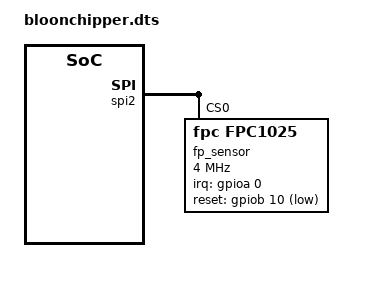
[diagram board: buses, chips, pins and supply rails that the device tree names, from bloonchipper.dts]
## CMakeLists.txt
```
# Copyright 2023 The ChromiumOS Authors
# Use of this source code is governed by a BSD-style license that can be
# found in the LICENSE file.

zephyr_library_sources("../common.c")
zephyr_library_sources("src/power.c")

zephyr_library_sources_ifdef(CONFIG_BLOONCHIPPER_EC_RO_QUIRKS "src/ec_quirks.c")
zephyr_library_sources_ifdef(CONFIG_EC_HOST_CMD "src/fp_transport.c")
```

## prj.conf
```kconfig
# Copyright 2023 The ChromiumOS Authors
# Use of this source code is governed by a BSD-style license that can be
# found in the LICENSE file.

CONFIG_BOARD_BLOONCHIPPER=y

# The NULL pointer exception page size must be a power of two
# and have size greater or equal ARM_MPU_REGION_MIN_ALIGN_AND_SIZE
CONFIG_CORTEX_M_NULL_POINTER_EXCEPTION_PAGE_SIZE=0x80

# Peripherials
CONFIG_COUNTER=y
CONFIG_DMA=y

# Hwinfo (used by cros-system driver for STM32)
CONFIG_HWINFO=y

# STM32 flash driver options
CONFIG_FLASH_STM32_READOUT_PROTECTION=y
CONFIG_FLASH_STM32_WRITE_PROTECT=y
CONFIG_FLASH_STM32_BLOCK_REGISTERS=y

# STM32 entropy driver options
CONFIG_ENTROPY_STM32_THR_POOL_SIZE=32
CONFIG_ENTROPY_STM32_THR_THRESHOLD=16

# IWDG watchdog
CONFIG_IWDG_STM32_INITIAL_TIMEOUT=10000
CONFIG_PLATFORM_EC_WATCHDOG_PERIOD_MS=10000
CONFIG_PLATFORM_EC_WATCHDOG_WARNING_LEADING_TIME_MS=3000
CONFIG_PLATFORM_EC_WATCHDOG_HELPER=y

# Set HOOK_TICK INTERVAL in microseconds to reload watchdog
CONFIG_CROS_EC_HOOK_TICK_INTERVAL=500000

# CrOS drivers
CONFIG_CROS_FLASH_READOUT_PROTECTION=y
CONFIG_CROS_SYSTEM_STM32=y

# Priorities
CONFIG_PLATFORM_EC_FLASH_INIT_PRIORITY=60
CONFIG_CROS_SYSTEM_STM32_INIT_PRIORITY=71
CONFIG_PLATFORM_EC_SYSTEM_PRE_INIT_PRIORITY=72

# Host Commands
CONFIG_EC_HOST_CMD_INITIALIZE_AT_BOOT=n
CONFIG_EC_HOST_CMD_HANDLER_TX_BUFFER_SIZE=549
CONFIG_EC_HOST_CMD_HANDLER_RX_BUFFER_SIZE=544
CONFIG_EC_HOST_CMD_BACKEND_SPI=y
CONFIG_EC_HOST_CMD_BACKEND_UART=y
CONFIG_EC_HOST_CMD_BACKEND_UART_TIMEOUT=30
CONFIG_UART_ASYNC_API=y

# Increase IDLE stack for the IDLE timer
CONFIG_IDLE_STACK_SIZE=550

# Enable DMA for SPI, which is used for communication with a sensor
CONFIG_SPI_STM32_DMA=y

# Software SHA256 for rollback and RW signature verification
CONFIG_PLATFORM_EC_SHA256_SW=y
CONFIG_PLATFORM_EC_SHA256_UNROLLED=y
```

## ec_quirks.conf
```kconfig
# Copyright 2023 The ChromiumOS Authors
# Use of this source code is governed by a BSD-style license that can be
# found in the LICENSE file.

CONFIG_BLOONCHIPPER_EC_RO_QUIRKS=y
CONFIG_CROS_FLASH_STM32_PROTECTION_COMPAT=y
```

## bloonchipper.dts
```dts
/* Copyright 2023 The ChromiumOS Authors.
 * Use of this source code is governed by a BSD-style license that can be
 * found in the LICENSE file.
 */

#include "soc.dtsi"
#include "gpio.dtsi"
#include "rwsig.dtsi"

#include <cros/integrated_fwid.dtsi>

#define FPC1025_RAW_IMAGE_PROPS \
	width = <160>; \
	height = <160>; \
	bits-per-pixel = <8>; \
	/*
	 * Sensor raw image size
	 *
	 * Value from fpc_bep_image_get_buffer_size(): (160*160)+660
	 */ \
	frame-size = <26260>; \
	v4l2-pixel-format = "V4L2_PIX_FMT_GREY";

#define FPC1025_REAL_IMAGE_PROPS \
	width = <160>; \
	height = <160>; \
	bits-per-pixel = <8>; \
	/* Sensor real image size: (160*160) */ \
	frame-size = <25600>; \
	v4l2-pixel-format = "V4L2_PIX_FMT_GREY";

/ {
	chosen {
		cros-fp,fingerprint-sensor = &fp_sensor;
		zephyr,host-cmd-spi-backend = &spi1;
		zephyr,host-cmd-uart-backend = &usart1;
	};

	named-bbram-regions {
		compatible = "named-bbram-regions";

		scratchpad {
			offset = <0x00>;
			size = <0x02>;
		};
		saved-reset-flags {
			offset = <0x02>;
			size = <0x04>;
		};
		saved-panic-reason {
			offset = <0x06>;
			size = <0x02>;
		};
		saved-panic-info {
			offset = <0x08>;
			size = <0x02>;
		};
		saved-panic-exception {
			offset = <0x0a>;
			size = <0x02>;
		};
		saved-panic-flags {
			offset = <0x0c>;
			size = <0x02>;
		};
	};

	binman {
		pad-byte = <0xff>;

		/* First 5 sectors (4 x 16KB, 1 x 64KB) used for RO */
		wp-ro {
			offset = <0x0>;
			size = <0x20000>;
			ec-ro {
				pad-byte = <0xff>;
			};
		};

		/* Two sectors used for rollback (128KB each) */
		rollback0 {
			offset = <0x20000>;
			size = <0x20000>;
			type = "blob";
			filename = "../build-rw/rollback_initial_data.bin";
		};

		rollback1 {
			offset = <0x40000>;
			size = <0x20000>;
			type = "blob";
			filename = "../build-rw/rollback_initial_data.bin";
		};

		/* Remaining 5 sectors (128KB each) used for RW */
		ec-rw {
			offset = <0x60000>;
			size = <0xa0000>;
			rw-fw {
				/*
				 * Clang doesn't emit STT_SECTION symbols (also
				 * called 'section symbols'), so 'rom_start'
				 * symbol is not available. Fortunately, Zephyr
				 * linker scripts provide '__rom_start_address'
				 * symbol which points to the beginning of
				 * 'rom_start' section.
				 */
				zephyr-rw {
					elf-base-sym = "__rom_start_address";
				};
			};
		};
	};
};

&flash0 {
	partitions {
		compatible = "fixed-partitions";
		#address-cells = <1>;
		#size-cells = <1>;

		/* Sixth sector is used as first rollback sector. */
		rollback0: partition@20000 {
			label = "rollback0";
			reg = <0x20000 DT_SIZE_K(128)>;
		};

		/* Seventh sector is used as second rollback sector. */
		rollback1: partition@40000 {
			label = "rollback1";
			reg = <0x40000 DT_SIZE_K(128)>;
		};
	};
};

&spi2 {
	fp_sensor: fpc1025@0 {
		compatible = "fpc,fpc1025";
		reg = <0>;
		spi-max-frequency = <4000000>;

		configs {
			compatible = "fingerprint-image-frame-params";
			config0 {
				FPC1025_RAW_IMAGE_PROPS
				capture-type = "FINGERPRINT_CAPTURE_TYPE_VENDOR_FORMAT";
			};
			config1 {
				FPC1025_REAL_IMAGE_PROPS
				capture-type = "FINGERPRINT_CAPTURE_TYPE_SIMPLE_IMAGE";
			};
			config2 {
				FPC1025_REAL_IMAGE_PROPS
				capture-type = "FINGERPRINT_CAPTURE_TYPE_PATTERN0";
			};
			config3 {
				FPC1025_REAL_IMAGE_PROPS
				capture-type = "FINGERPRINT_CAPTURE_TYPE_PATTERN1";
			};
			config4 {
				FPC1025_RAW_IMAGE_PROPS
				capture-type = "FINGERPRINT_CAPTURE_TYPE_QUALITY_TEST";
			};
			config5 {
				FPC1025_REAL_IMAGE_PROPS
				capture-type = "FINGERPRINT_CAPTURE_TYPE_RESET_TEST";
			};
		};

		irq-gpios = <&gpioa 0 (GPIO_ACTIVE_HIGH | GPIO_PULL_DOWN)>;
		reset-gpios = <&gpiob 10 GPIO_ACTIVE_LOW>;
	};
};
```

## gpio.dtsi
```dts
/* Copyright 2023 The ChromiumOS Authors.
 * Use of this source code is governed by a BSD-style license that can be
 * found in the LICENSE file.
 */

#include <dt-bindings/gpio_defines.h>

/ {
	aliases {
		gpio-wp = &ec_wp_l;
	};

	named-gpios {
		compatible = "named-gpios";

		ap_ec_int_l {
			gpios = <&gpioa 1 GPIO_OUTPUT_HIGH>;
			enum-name = "GPIO_EC_INT_L";
		};

		ec_wp_l: write-protect {
			gpios = <&gpiob 7 GPIO_INPUT>;
		};

		fps_int: fps_int {
			gpios = <&gpioa 0 GPIO_INPUT>;
		};

		fp_rst_odl {
			gpios = <&gpiob 10 GPIO_OUTPUT_HIGH>;
		};

		fp_sensor_sel {
			gpios = <&gpiob 0 GPIO_INPUT>;
		};

		slp_l: slp_l {
			gpios = <&gpioa 8 GPIO_INPUT>;
		};

		slp_alt_l: slp_alt_l {
			gpios = <&gpiob 6 GPIO_INPUT>;
		};

		transport_sel: transport_sel {
			gpios = <&gpiob 1 GPIO_INPUT>;
		};

		user_pres_l {
			gpios = <&gpiob 9 GPIO_ODR_HIGH>;
		};

		/* Used to the transport layer detection at the beginning of the
		 * boot.
		 */
		div_highside: div_highside {
			gpios = <&gpiob 8 GPIO_OUTPUT_HIGH>;
		};

		/* unimplemented GPIOs */
		entering-rw {
			enum-name = "GPIO_ENTERING_RW";
		};
	};


	gpio-interrupts {
		compatible = "cros-ec,gpio-interrupts";

		int_fps_int: int_fps_int {
			irq-pin = <&fps_int>;
			flags = <GPIO_INT_EDGE_RISING>;
			//handler = "";
		};

		int_slp_l: int_slp_l {
			irq-pin = <&slp_l>;
			flags = <GPIO_INT_EDGE_BOTH>;
			//handler = "";
		};

		int_slp_alt_l: int_slp_alt_l {
			irq-pin = <&slp_alt_l>;
			flags = <GPIO_INT_EDGE_BOTH>;
			//handler = "";
		};
	};

	unused-pins {
		compatible = "unused-gpios";
		unused-gpios =
			<&gpiob 2 0>,
			<&gpiob 5 0>,
			<&gpioc 13 0>,
			<&gpioc 14 0>,
			<&gpioc 15 0>,
			<&gpioh 0 0>,
			<&gpioh 1 0>;
	};

};
```

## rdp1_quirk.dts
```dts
/* Copyright 2023 The ChromiumOS Authors.
 * Use of this source code is governed by a BSD-style license that can be
 * found in the LICENSE file.
 */

/*
 * RDP1 byte can be any byte (except 0xAA and 0xCC). By default STM32 HAL uses
 * 0x55, but old FPMCU RO reports RDP1 when the RDP byte is 0x00, so override
 * the default.
 */
&flash {
	st,rdp1-enable-byte = <0x00>;
};
```

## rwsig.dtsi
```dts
/* Copyright 2023 The ChromiumOS Authors.
 * Use of this source code is governed by a BSD-style license that can be
 * found in the LICENSE file.
 */

&binman {
	wp-ro {
		ec-ro {
			key-ro {
				compatible = "cros-ec,flash-layout";
				type = "section";
				offset = <0x1fc00>;
				size = <0x400>;
			};
		};
	};

	ec-rw {
		rw-fw {
			pad-byte = <0xff>;

			rw-rbver {
				size = <4>;
				type = "section";
				/* points to
				 * current_image_data.rollback_version
				 */
				offset-from-elf = <&zephyr_rw>,
					"current_image_data", <40>;
				overlap;
			};

			sig-rw {
				type = "section";
				offset = <0x9fc00>;
				size = <0x400>;
			};
		};
	};
};
```

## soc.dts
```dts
/* Copyright 2023 The ChromiumOS Authors.
 * Use of this source code is governed by a BSD-style license that can be
 * found in the LICENSE file.
 */

#include <cros/st/stm32.dtsi>

&iwdg {
	status = "okay";
};

&timers2 {
	status = "okay";
	counter {
		status = "okay";
	};
};

&timers9 {
	/*
	 * The counter has 16 bits. TIMPRE bit in RCC_DCKCFGR is 0 by default.
	 * On Dragonclaw board APB2 prescaler is set to 2. In this case APB2
	 * clock is 48Mhz, but TIM9 input clock is doubled, because TIMPRE=0
	 * and APB2 prescaler > 1. Effectively TIM9 is clocked with 96Mhz clock.
	 * Setting prescaler to 16384 will give about 11.2s maximum timeout.
	 */
	st,prescaler = <0x4000>;
	status = "okay";
	wdg_helper_counter: counter {
		status = "okay";
	};
};

&wdg_helper {
	counter = <&wdg_helper_counter>;
	status = "okay";
};

&dma1 {
	status = "okay";
};

&dma2 {
	status = "okay";
};
```

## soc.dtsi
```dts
/* Copyright 2023 The ChromiumOS Authors.
 * Use of this source code is governed by a BSD-style license that can be
 * found in the LICENSE file.
 */

#include <cros/st/stm32.dtsi>
#include <zephyr/dt-bindings/pinctrl/stm32-pinctrl.h>

&iwdg {
	status = "okay";
};

&timers9 {
	/*
	 * The counter has 16 bits. TIMPRE bit in RCC_DCKCFGR is 0 by default.
	 * On Dragonclaw board APB2 prescaler is set to 2. In this case APB2
	 * clock is 48Mhz, but TIM9 input clock is doubled, because TIMPRE=0
	 * and APB2 prescaler > 1. Effectively TIM9 is clocked with 96Mhz clock.
	 * Setting prescaler to 16384 will give about 11.2s maximum timeout.
	 */
	st,prescaler = <0x4000>;
	status = "okay";
	wdg_helper_counter: counter {
		status = "okay";
	};
};

&wdg_helper {
	counter = <&wdg_helper_counter>;
	status = "okay";
};

&dma1 {
	status = "okay";
};

&dma2 {
	status = "okay";
};

&rng {
	status = "okay";
};

&usart1 {
	pinctrl-0 = <&usart1_tx_pa9 &usart1_rx_pa10>;
	pinctrl-1 = <&analog_pa9 &analog_pa10>;
	pinctrl-names = "default", "sleep";
	current-speed = <3000000>;
	dmas = <&dma2 7 4 0x38440 0x03>,
		<&dma2 2 4 0x38480 0x03>;
	dma-names = "tx", "rx";
	status = "okay";
};

&usart2 {
	pinctrl-1 = <&analog_pa2 &analog_pa3>;
	pinctrl-names = "default", "sleep";
	dmas = <&dma1 6 4 0x08440 0x03>,
		<&dma1 5 4 0x08480 0x03>;
	dma-names = "tx", "rx";
};

&spi1 {
	pinctrl-1 = <&analog_pa4 &analog_pa5 &analog_pa6 &analog_pa7>;
	pinctrl-names = "default", "sleep";
	/* Change the compatible string to use the Host Command version of the
	 * STM32 SPI driver
	 */
	compatible = "st,stm32-spi-host-cmd";
	status = "okay";

	dmas = <&dma2 3 3 0x38440 0x03>,
		<&dma2 0 3 0x38480 0x03>;
	dma-names = "tx", "rx";
	/* This field is used to point at our CS pin */
	cs-gpios = <&gpioa 4 (GPIO_ACTIVE_LOW | GPIO_PULL_UP)>;
};

&pinctrl {
	gpio_out_low_pb13: gpio_out_low_pb13 {
		pinmux = <STM32_PINMUX('B', 13, GPIO)>;
		output-low;
	};
	gpio_out_low_pb14: gpio_out_low_pb14 {
		pinmux = <STM32_PINMUX('B', 14, GPIO)>;
		output-low;
	};
	gpio_out_low_pb15: gpio_out_low_pb15 {
		pinmux = <STM32_PINMUX('B', 15, GPIO)>;
		output-low;
	};
};

&spi2 {
	/*
	 * Exclude spi2_nss_pb12 from pinctrl-0. Without CS pin the driver will
	 * disable hardware CS management. This is necessary because deasserting
	 * CS pin clears command context in the sensor.
	 */
	pinctrl-0 = <&spi2_sck_pb13 &spi2_miso_pb14 &spi2_mosi_pb15>;
	/* Set the sleep state as output low to power consumption. */
	pinctrl-1 = <&gpio_out_low_pb13 &gpio_out_low_pb14 &gpio_out_low_pb15>;
	pinctrl-names = "default", "sleep";

	dmas = <&dma1 4 0 0x38440 0x03>,
		<&dma1 3 0 0x38480 0x03>;
	dma-names = "tx", "rx";

	/* Use PB12 pin as a CS for the device (managed by SPI controller) */
	cs-gpios = <&gpiob 12 GPIO_ACTIVE_LOW>;
};

&flash0 {
	/*
	 * 4 byte parallelism can be enabled when the voltage is at least 2.7V.
	 * See STM32F412 reference manual for more details.
	 */
	write-block-size = <4>;
};
```

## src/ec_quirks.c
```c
/* Copyright 2023 The ChromiumOS Authors
 * Use of this source code is governed by a BSD-style license that can be
 * found in the LICENSE file.
 */

#include "hooks.h"

#include <zephyr/device.h>
#include <zephyr/devicetree.h>
#include <zephyr/drivers/clock_control/stm32_clock_control.h>
#include <zephyr/drivers/reset.h>
#include <zephyr/drivers/timer/system_timer.h>
#include <zephyr/init.h>
#include <zephyr/kernel.h>

#include <stm32f4xx_ll_tim.h>

#define RESET_PERIPHERAL(idx) \
	reset_line_toggle_dt(&(struct reset_dt_spec)RESET_DT_SPEC_GET(idx));

#define TIMER2_NODE DT_NODELABEL(timers2)

extern void arm_core_mpu_disable(void);

static void prepare_for_sysjump_to_ec(void)
{
	/* Reset timers and UARTs to the defaults. */
	DT_FOREACH_STATUS_OKAY(st_stm32_timers, RESET_PERIPHERAL);
	DT_FOREACH_STATUS_OKAY(st_stm32_uart, RESET_PERIPHERAL);

	/*
	 * When HW_STACK_PROTECTION is enabled on ARMv7-M microcontroller then
	 * the last 64 bytes of the stack is protected to detect stack
	 * overflows. Size of protected region must be greater than exception
	 * frame, so CPU won't overwrite some other data when exception occurs.
	 *
	 * EC uses different RAM layout than Zephyr, so it's possible that after
	 * sysjump some variables are stored in the protected region. EC also
	 * reconfigures MPU late (Zephyr does it in reset handler).
	 *
	 * Disable MPU protection to avoid problems after sysjump to EC.
	 */
	arm_core_mpu_disable();

	/*
	 * Disable system clock (Cortex-M Systick it this case) because it's
	 * unused in EC.
	 */
	sys_clock_disable();
}
DECLARE_HOOK(HOOK_SYSJUMP, prepare_for_sysjump_to_ec, HOOK_PRIO_LAST);

static void disable_tim2(void)
{
	struct stm32_pclken pclken = { .bus = DT_CLOCKS_CELL(TIMER2_NODE, bus),
				       .enr = DT_CLOCKS_CELL(TIMER2_NODE,
							     bits) };
	LL_TIM_DisableCounter(DT_REG_ADDR(TIMER2_NODE));
	irq_disable(DT_IRQN(TIMER2_NODE));

	clock_control_off(DEVICE_DT_GET(STM32_CLOCK_CONTROL_NODE),
			  (clock_control_subsys_t)&pclken);
}

static int tim2_init(void)
{
	/*
	 * Old FPMCU RO (EC based) uses TIM2 to measure system uptime and
	 * schedule tasks. Zephyr uses different counter for these purposes, so
	 * disable it.
	 */
	disable_tim2();

	return 0;
}
SYS_INIT(tim2_init, POST_KERNEL, CONFIG_APPLICATION_INIT_PRIORITY);
```

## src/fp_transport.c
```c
/* Copyright 2023 The ChromiumOS Authors
 * Use of this source code is governed by a BSD-style license that can be
 * found in the LICENSE file.
 */
#include <zephyr/device.h>
#include <zephyr/devicetree.h>
#include <zephyr/init.h>
#include <zephyr/mgmt/ec_host_cmd/ec_host_cmd.h>
#include <zephyr/pm/device.h>

#include <ec_commands.h>
#include <fpsensor/fpsensor_detect.h>

#if !defined(CONFIG_EC_HOST_CMD_BACKEND_SPI) && \
	!defined(CONFIG_EC_HOST_CMD_BACKEND_UART)
BUILD_ASSERT(0, "Both backends are not enabled");
#endif

/* TODO(b/394346384): De-duplicate with helipilot code */

test_export_static int fp_transport_init(void)
{
#ifdef CONFIG_EC_HOST_CMD_BACKEND_UART
	const struct device *const dev_uart =
		DEVICE_DT_GET(DT_CHOSEN(zephyr_host_cmd_uart_backend));
#endif /* CONFIG_EC_HOST_CMD_BACKEND_UART */
#ifdef CONFIG_EC_HOST_CMD_BACKEND_SPI
	struct gpio_dt_spec cs = GPIO_DT_SPEC_GET(
		DT_CHOSEN(zephyr_host_cmd_spi_backend), cs_gpios);
	const struct device *const dev_spi =
		DEVICE_DT_GET(DT_CHOSEN(zephyr_host_cmd_spi_backend));
#endif /* CONFIG_EC_HOST_CMD_BACKEND_SPI */

	switch (get_fp_transport_type()) {
	case FP_TRANSPORT_TYPE_UART:
#ifdef CONFIG_EC_HOST_CMD_BACKEND_SPI
		pm_device_action_run(dev_spi, PM_DEVICE_ACTION_SUSPEND);
#endif /* CONFIG_EC_HOST_CMD_BACKEND_SPI */
#ifdef CONFIG_EC_HOST_CMD_BACKEND_UART
		ec_host_cmd_init(ec_host_cmd_backend_get_uart(dev_uart));
#endif /* CONFIG_EC_HOST_CMD_BACKEND_UART */

		break;
	case FP_TRANSPORT_TYPE_SPI:
#ifdef CONFIG_EC_HOST_CMD_BACKEND_UART
		pm_device_action_run(dev_uart, PM_DEVICE_ACTION_SUSPEND);
#endif /* CONFIG_EC_HOST_CMD_BACKEND_UART */
#ifdef CONFIG_EC_HOST_CMD_BACKEND_SPI
		ec_host_cmd_init(ec_host_cmd_backend_get_spi(&cs));
#endif /* CONFIG_EC_HOST_CMD_BACKEND_SPI */

		break;
	default:
		break;
	}

	return 0;
}
SYS_INIT(fp_transport_init, POST_KERNEL, CONFIG_EC_HOST_CMD_INIT_PRIORITY);
```

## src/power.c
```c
/* Copyright 2023 The ChromiumOS Authors
 * Use of this source code is governed by a BSD-style license that can be
 * found in the LICENSE file.
 */

#include "fpsensor/fpsensor_detect.h"
#include "hooks.h"

#include <zephyr/device.h>
#include <zephyr/devicetree.h>
#include <zephyr/drivers/gpio.h>
#include <zephyr/init.h>
#include <zephyr/kernel.h>
#include <zephyr/pm/device.h>
#include <zephyr/pm/policy.h>

#include <stm32_ll_rcc.h>

static struct k_work slp_event_work;
static struct gpio_callback slp_event_callback;
static struct gpio_callback slp_alt_event_callback;

static void slp_event_handler(struct k_work *work)
{
	static bool suspend_allowed = true;
	/*
	 * Some platforms have a broken SLP_S0_L signal (stuck to 0 in S0)
	 * if set, ignore it and only uses SLP_S3_L for the AP state.
	 */
	bool broken_slp;

	/*
	 * The Zork variants currently have a broken SLP_S0_L signal
	 * (stuck to 0 in S0). For now, unconditionally ignore it here
	 * as they are the only UART users and the AP has no S0ix state.
	 * TODO(b/174695987) once the RW AP firmware has been updated
	 * on all those machines, remove this workaround.
	 */
	broken_slp = get_fp_transport_type() == FP_TRANSPORT_TYPE_UART;

	int running =
		gpio_pin_get_dt(GPIO_DT_FROM_NODELABEL(slp_alt_l)) &&
		(gpio_pin_get_dt(GPIO_DT_FROM_NODELABEL(slp_l)) || broken_slp);

	if (running) { /* S0 */
		if (suspend_allowed) {
			pm_policy_state_lock_get(PM_STATE_SUSPEND_TO_IDLE,
						 PM_ALL_SUBSTATES);
			suspend_allowed = false;
		}
		/* Added for compatibility with CrosEC, even if there are no
		 * consumers for this signal.
		 */
		hook_notify(HOOK_CHIPSET_RESUME);
	} else { /* S0ix/S3 */
		hook_notify(HOOK_CHIPSET_SUSPEND);
		if (!suspend_allowed) {
			pm_policy_state_lock_put(PM_STATE_SUSPEND_TO_IDLE,
						 PM_ALL_SUBSTATES);
			suspend_allowed = true;
		}
	}
}

static void slp_event_isr(const struct device *port, struct gpio_callback *cb,
			  gpio_port_pins_t pins)
{
	/* Use k_work to call hook_notify */
	k_work_submit(&slp_event_work);
}

static int slp_event_init(void)
{
	k_work_init(&slp_event_work, slp_event_handler);

	/* Enable and configure interrupts for both sleep pins */
	gpio_init_callback(&slp_event_callback, slp_event_isr,
			   BIT(GPIO_DT_FROM_NODELABEL(slp_l)->pin));
	gpio_add_callback_dt(GPIO_DT_FROM_NODELABEL(slp_l),
			     &slp_event_callback);
	gpio_pin_interrupt_configure_dt(GPIO_DT_FROM_NODELABEL(slp_l),
					GPIO_INT_EDGE_BOTH);

	gpio_init_callback(&slp_alt_event_callback, slp_event_isr,
			   BIT(GPIO_DT_FROM_NODELABEL(slp_alt_l)->pin));
	gpio_add_callback_dt(GPIO_DT_FROM_NODELABEL(slp_alt_l),
			     &slp_alt_event_callback);
	gpio_pin_interrupt_configure_dt(GPIO_DT_FROM_NODELABEL(slp_alt_l),
					GPIO_INT_EDGE_BOTH);

	/* Get init state of the sleep pins */
	k_work_submit(&slp_event_work);

	return 0;
}
SYS_INIT(slp_event_init, POST_KERNEL, CONFIG_APPLICATION_INIT_PRIORITY);

static int gpio_init(void)
{
	const struct device *dev_gpioc = DEVICE_DT_GET(DT_NODELABEL(gpioc));
	const struct device *dev_gpioh = DEVICE_DT_GET(DT_NODELABEL(gpioh));

	pm_device_action_run(dev_gpioc, PM_DEVICE_ACTION_SUSPEND);
	pm_device_action_run(dev_gpioh, PM_DEVICE_ACTION_SUSPEND);

	return 0;
}
SYS_INIT(gpio_init, POST_KERNEL, CONFIG_APPLICATION_INIT_PRIORITY);

/* Switch the MCO2 source clock to HSE, because it reduces power consumption. */
static int mco2_init(void)
{
	LL_RCC_ConfigMCO(LL_RCC_MCO2SOURCE_HSE, LL_RCC_MCO2_DIV_1);

	return 0;
}
SYS_INIT(mco2_init, POST_KERNEL, CONFIG_APPLICATION_INIT_PRIORITY);
```
